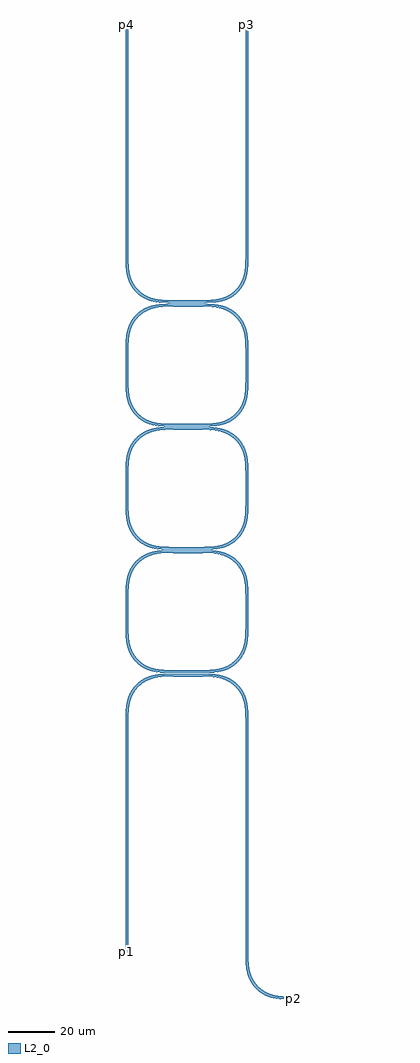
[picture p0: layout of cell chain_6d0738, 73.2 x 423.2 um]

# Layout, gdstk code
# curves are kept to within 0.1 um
from math import pi, radians
import gdstk
lib = gdstk.Library(unit=1e-6, precision=1e-09)
def R(c, l, rs):  # rectangles x0, y0, x1, y1
    for r in rs: c.add(gdstk.rectangle(r[:2], r[2:], *l))
def P(c, l, *ps):  # polygons
    for p in ps: c.add(gdstk.Polygon(p, *l))
L2_0 = (2, 0)

bend_euler_gdsfactorypc_ = lib.new_cell('bend_euler_gdsfactorypc_f0601f7d')
P(bend_euler_gdsfactorypc_, L2_0, [(0,-0.6),(0,0.6),(5.886,0.821),(8.202,1.208),(10.126,1.77),(12.829,3.108),(15.079,4.921),(16.892,7.171),(18.23,9.874),(18.792,11.798),(19.179,14.114),(19.4,20),(20.6,20),(20.426,14.502),(19.7,10.515),(19.051,8.688),(18.238,7.072),(17.19,5.511),(16.013,4.159),(14.612,2.906),(13.003,1.806),(11.312,0.949),(9.618,0.339),(7.729,-0.116),(5.498,-0.426)])

straight_gdsfactorypcom_ = lib.new_cell('straight_gdsfactorypcom_4b85a3ac')
R(straight_gdsfactorypcom_, L2_0, [(0,-0.6,12,0.6)])

ring_resonator_euler_lx_ = lib.new_cell('ring_resonator_euler_LX_494c9b60')
ring_resonator_euler_lx_.add(gdstk.Reference(bend_euler_gdsfactorypc_, (0,0)))
ring_resonator_euler_lx_.add(gdstk.Reference(straight_gdsfactorypcom_, (20,20), rotation=pi/2))
ring_resonator_euler_lx_.add(gdstk.Reference(bend_euler_gdsfactorypc_, (20,32), rotation=pi/2))
ring_resonator_euler_lx_.add(gdstk.Reference(straight_gdsfactorypcom_, (0,52), rotation=pi))
ring_resonator_euler_lx_.add(gdstk.Reference(bend_euler_gdsfactorypc_, (-12,52), rotation=pi))
ring_resonator_euler_lx_.add(gdstk.Reference(straight_gdsfactorypcom_, (-32,32), rotation=3*pi/2, x_reflection=True))
ring_resonator_euler_lx_.add(gdstk.Reference(bend_euler_gdsfactorypc_, (-32,20), rotation=3*pi/2))
ring_resonator_euler_lx_.add(gdstk.Reference(straight_gdsfactorypcom_, (-12,0)))

c_straight_gdsfactorypcom_ = lib.new_cell('straight_gdsfactorypcom_1298df09')
R(c_straight_gdsfactorypcom_, L2_0, [(0,-0.6,100,0.6)])

io_coupler_1_l12_w1_2_r2 = lib.new_cell('io_Coupler_1_L12_w1.2_r20_0479bb')
io_coupler_1_l12_w1_2_r2.add(gdstk.Reference(straight_gdsfactorypcom_, (0,0)))
io_coupler_1_l12_w1_2_r2.add(gdstk.Reference(c_straight_gdsfactorypcom_, (-20,-20), rotation=3*pi/2))
io_coupler_1_l12_w1_2_r2.add(gdstk.Reference(c_straight_gdsfactorypcom_, (32,-20), rotation=3*pi/2))
io_coupler_1_l12_w1_2_r2.add(gdstk.Reference(bend_euler_gdsfactorypc_, (32,-20), rotation=pi/2))
io_coupler_1_l12_w1_2_r2.add(gdstk.Reference(bend_euler_gdsfactorypc_, (0,0), rotation=pi))
io_coupler_1_l12_w1_2_r2.add(gdstk.Reference(bend_euler_gdsfactorypc_, (32,-120), rotation=3*pi/2))

io_coupler_2_l12_w1_2_r2 = lib.new_cell('io_Coupler_2_L12_w1.2_r20_fe7676')
io_coupler_2_l12_w1_2_r2.add(gdstk.Reference(c_straight_gdsfactorypcom_, (20,120), rotation=3*pi/2))
io_coupler_2_l12_w1_2_r2.add(gdstk.Reference(straight_gdsfactorypcom_, (0,0), rotation=pi))
io_coupler_2_l12_w1_2_r2.add(gdstk.Reference(c_straight_gdsfactorypcom_, (-32,20), rotation=pi/2))
io_coupler_2_l12_w1_2_r2.add(gdstk.Reference(bend_euler_gdsfactorypc_, (0,0)))
io_coupler_2_l12_w1_2_r2.add(gdstk.Reference(bend_euler_gdsfactorypc_, (-32,20), rotation=3*pi/2))

chain_6d0738 = lib.new_cell('chain_6d0738')
P(chain_6d0738, L2_0, [(-32,-122.2),(-32.54,-121.66),(-32.45,-121.66),(-32,-122.116),(-32,-121.66),(-32.54,-121.66),(-32.6,-121.6),(-31.4,-121.6)],
  [(40,-142.2),(40,-141.6),(40.06,-141.6),(40.06,-142.05),(40.516,-141.6),(40,-141.6),(40,-141),(40.6,-141.6)],
  [(19.4,280.4),(19.916,280.916),(20,280.916),(20,280.46),(20.45,280.46),(20,280.916),(19.916,280.916),(20,281),(20.6,280.4)],
  [(-32.6,280.4),(-32.084,280.916),(-32,280.916),(-32,280.46),(-31.55,280.46),(-32,280.916),(-32.084,280.916),(-32,281),(-31.4,280.4)])
chain_6d0738.add(gdstk.Reference(ring_resonator_euler_lx_, (0,0)))
chain_6d0738.add(gdstk.Reference(ring_resonator_euler_lx_, (0,53.4)))
chain_6d0738.add(gdstk.Reference(ring_resonator_euler_lx_, (0,106.8)))
chain_6d0738.add(gdstk.Reference(io_coupler_1_l12_w1_2_r2, (-12,-1.6)))
chain_6d0738.add(gdstk.Reference(io_coupler_2_l12_w1_2_r2, (0,160.4)))
chain_6d0738.add(gdstk.Label('p1', (-32,-121.6), layer=2, texttype=0))
chain_6d0738.add(gdstk.Label('p2', (40,-141.6), layer=2, texttype=0))
chain_6d0738.add(gdstk.Label('p3', (20,280.4), layer=2, texttype=0))
chain_6d0738.add(gdstk.Label('p4', (-32,280.4), layer=2, texttype=0))

lib.write_gds('chain_6d0738.gds')
